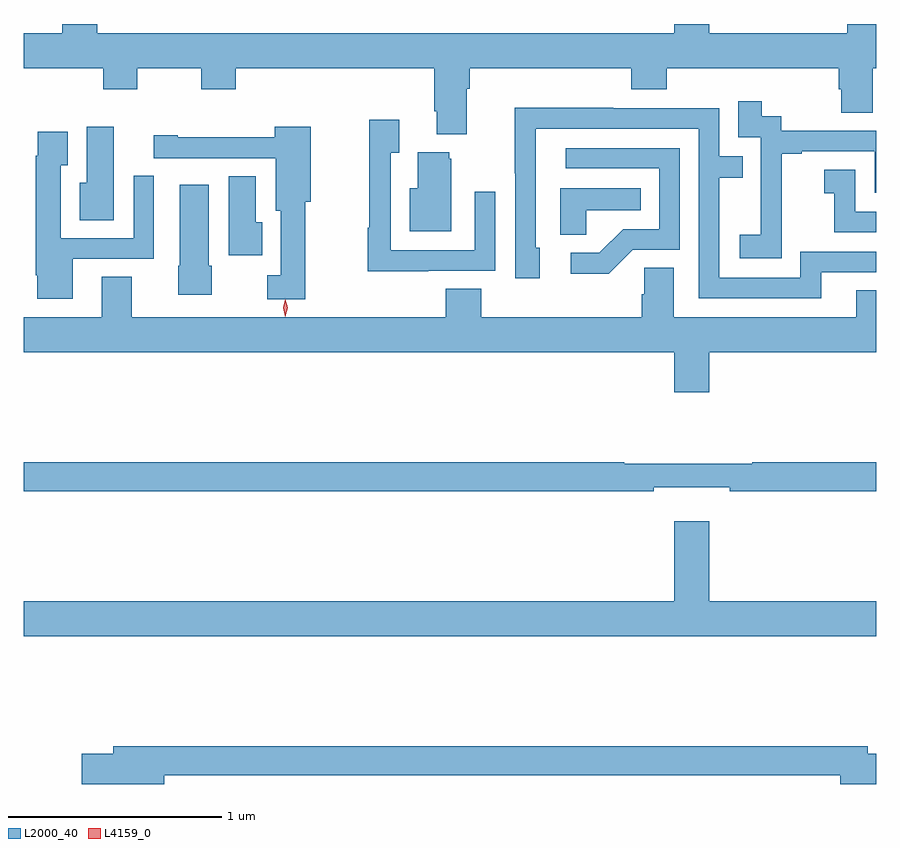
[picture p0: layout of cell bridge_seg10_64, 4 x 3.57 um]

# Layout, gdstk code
import gdstk
lib = gdstk.Library(unit=1e-6, precision=1e-09)
def P(c, l, *ps):  # polygons
    for p in ps: c.add(gdstk.Polygon(p, *l))
L2000_40 = (2000, 40)
L4159_0 = (4159, 0)

bridge_seg10_64 = lib.new_cell('bridge_seg10_64')
P(bridge_seg10_64, L2000_40, [(811.387,1294.892),(811.4,1294.892),(811.4,1294.988),(812.159,1294.988),(812.159,1294.889),(812.324,1294.889),(812.324,1294.988),(813.131,1294.988),(813.131,1294.89),(813.143,1294.89),(813.143,1294.78),(813.291,1294.78),(813.291,1294.988),(813.308,1294.988),(813.308,1295.196),(813.173,1295.196),(813.173,1295.152),(812.524,1295.152),(812.524,1295.196),(812.36,1295.196),(812.36,1295.152),(809.654,1295.152),(809.654,1295.196),(809.489,1295.196),(809.489,1295.152),(809.308,1295.152),(809.308,1294.988),(809.681,1294.988),(809.681,1294.889),(809.841,1294.889),(809.841,1294.988),(810.142,1294.988),(810.142,1294.889),(810.302,1294.889),(810.302,1294.988),(811.235,1294.988),(811.235,1294.786),(811.247,1294.786),(811.247,1294.679),(811.387,1294.679)],
  [(812.865,1294.303),(812.864,1294.303),(812.864,1294.587),(812.959,1294.587),(812.959,1294.599),(813.3,1294.599),(813.3,1294.404),(813.308,1294.404),(813.308,1294.695),(812.862,1294.695),(812.862,1294.764),(812.77,1294.764),(812.77,1294.834),(812.661,1294.834),(812.661,1294.665),(812.766,1294.665),(812.766,1294.436),(812.765,1294.436),(812.765,1294.207),(812.667,1294.207),(812.667,1294.097),(812.865,1294.097)],
  [(813.049,1294.032),(813.308,1294.032),(813.308,1294.128),(812.952,1294.128),(812.952,1294.005),(812.571,1294.005),(812.571,1294.474),(812.681,1294.474),(812.681,1294.575),(812.571,1294.575),(812.571,1294.8),(812.075,1294.8),(812.075,1294.802),(811.612,1294.802),(811.612,1294.495),(811.614,1294.495),(811.614,1294.002),(811.729,1294.002),(811.729,1294.146),(811.71,1294.146),(811.71,1294.704),(812.475,1294.704),(812.475,1293.909),(813.049,1293.909)],
  [(811.205,1294.038),(811.521,1294.038),(811.521,1294.408),(811.425,1294.408),(811.425,1294.134),(811.029,1294.134),(811.029,1294.591),(811.069,1294.591),(811.069,1294.747),(810.928,1294.747),(810.928,1294.241),(810.921,1294.241),(810.921,1294.037),(811.205,1294.037)],
  [(810.629,1294.361),(810.655,1294.361),(810.655,1294.714),(810.485,1294.714),(810.485,1294.665),(810.031,1294.665),(810.031,1294.675),(809.919,1294.675),(809.919,1294.566),(810.491,1294.566),(810.491,1294.32),(810.515,1294.32),(810.515,1294.018),(810.45,1294.018),(810.45,1293.905),(810.629,1293.905)],
  [(809.731,1294.714),(809.603,1294.714),(809.603,1294.45),(809.57,1294.45),(809.57,1294.276),(809.731,1294.276)],
  [(809.539,1294.095),(809.919,1294.095),(809.919,1294.485),(809.823,1294.485),(809.823,1294.191),(809.481,1294.191),(809.481,1294.534),(809.515,1294.534),(809.515,1294.69),(809.373,1294.69),(809.373,1294.577),(809.365,1294.577),(809.365,1294.018),(809.372,1294.018),(809.372,1293.906),(809.539,1293.906)],
  [(812.166,1294.137),(812.385,1294.137),(812.385,1294.614),(811.851,1294.614),(811.851,1294.518),(812.289,1294.518),(812.289,1294.233),(812.12,1294.233),(812.009,1294.122),(811.875,1294.122),(811.875,1294.025),(812.053,1294.025)],
  [(811.315,1294.563),(811.304,1294.563),(811.304,1294.594),(811.157,1294.594),(811.157,1294.426),(811.118,1294.426),(811.118,1294.223),(811.315,1294.223)],
  [(813.308,1294.314),(813.21,1294.314),(813.21,1294.513),(813.063,1294.513),(813.063,1294.403),(813.112,1294.403),(813.112,1294.218),(813.308,1294.218)],
  [(810.427,1294.266),(810.397,1294.266),(810.397,1294.481),(810.269,1294.481),(810.269,1294.11),(810.427,1294.11)],
  [(810.19,1294.062),(810.175,1294.062),(810.175,1294.441),(810.041,1294.441),(810.041,1294.062),(810.032,1294.062),(810.032,1293.926),(810.19,1293.926)],
  [(811.947,1294.322),(812.204,1294.322),(812.204,1294.426),(811.826,1294.426),(811.826,1294.207),(811.947,1294.207)],
  [(812.524,1293.656),(813.308,1293.656),(813.308,1293.947),(813.215,1293.947),(813.215,1293.82),(812.359,1293.82),(812.359,1294.052),(812.22,1294.052),(812.22,1293.929),(812.207,1293.929),(812.207,1293.82),(811.454,1293.82),(811.454,1293.953),(811.289,1293.953),(811.289,1293.82),(809.815,1293.82),(809.815,1294.01),(809.675,1294.01),(809.675,1293.82),(809.308,1293.82),(809.308,1293.656),(812.36,1293.656),(812.36,1293.468),(812.524,1293.468)],
  [(812.264,1293.023),(812.62,1293.023),(812.62,1293.004),(813.308,1293.004),(813.308,1293.14),(812.726,1293.14),(812.726,1293.133),(812.126,1293.133),(812.126,1293.14),(809.308,1293.14),(809.308,1293.004),(812.264,1293.004)],
  [(813.308,1292.488),(812.524,1292.488),(812.524,1292.863),(812.36,1292.863),(812.36,1292.488),(809.308,1292.488),(809.308,1292.324),(813.308,1292.324)],
  [(809.968,1291.672),(813.14,1291.672),(813.14,1291.63),(813.308,1291.63),(813.308,1291.772),(813.268,1291.772),(813.268,1291.808),(809.729,1291.808),(809.729,1291.772),(809.58,1291.772),(809.58,1291.63),(809.968,1291.63)])
P(bridge_seg10_64, L4159_0, [(810.536,1293.823),(810.536,1293.823),(810.526,1293.864),(810.536,1293.905),(810.536,1293.905),(810.536,1293.905),(810.546,1293.864),(810.536,1293.823)])

lib.write_gds('bridge_seg10_64.gds')
